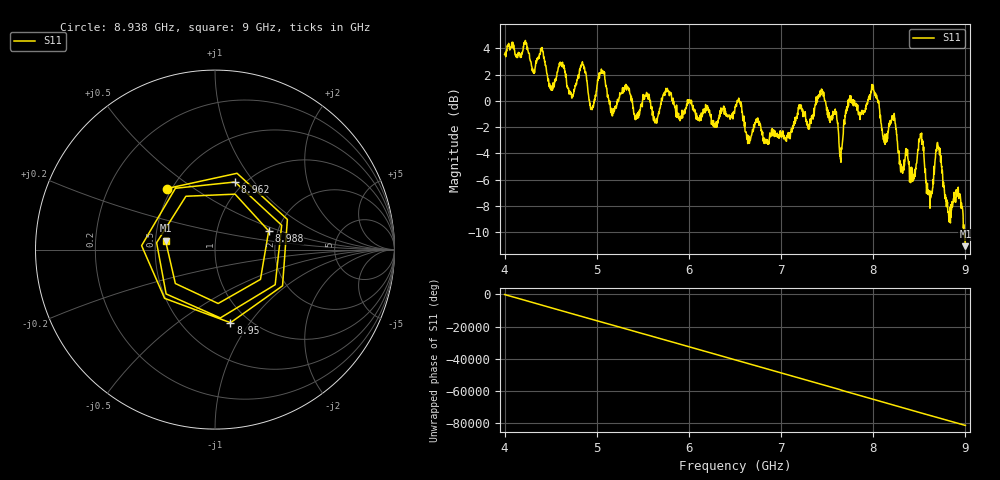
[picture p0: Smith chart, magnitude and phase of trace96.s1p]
! Created with skrf 1.8.0 (http://scikit-rf.org).
# Hz S RI R 50.0
!freq ReS11 ImS11
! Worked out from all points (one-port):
!   1601 points, 4 GHz to 9 GHz, reference 50 ohm
!   lowest |S11| = -11.1 dB at 9 GHz (marker M1), VSWR 1.78, Z = 28.3 + j3.02 ohm
!   |S11| at or under -10 dB: 8.988099 GHz to end of sweep
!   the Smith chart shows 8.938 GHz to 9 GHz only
!   S11 on the Smith chart (normalised r, x): 8.938 GHz: 0.47, +0.39; 8.95 GHz: 0.83, -0.81; 8.962 GHz: 0.91, +0.81; 8.988 GHz: 1.79, +0.41; 9 GHz: 0.57, +0.06
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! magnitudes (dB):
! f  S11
! 4 GHz  3.5
! 4.625 GHz  2.8
! 4.722 GHz  0.5
! 4.856 GHz  2.8
! 4.941 GHz  -0.6
! 5.059 GHz  2.1
! 5.169 GHz  -1.1
! 5.25 GHz  0.6
! 5.875 GHz  -0.9
! 6.5 GHz  -0.5
! 7.125 GHz  -1.9
! 7.438 GHz  0.9
! 7.65 GHz  -4.7
! 7.75 GHz  0.0
! 8.003 GHz  0.9
! 8.116 GHz  -2.7
! 8.216 GHz  -1.4
! 8.306 GHz  -5.2
! 8.375 GHz  -4.4
! 8.519 GHz  -2.7
! 8.616 GHz  -8.2
! 8.703 GHz  -3.4
! 8.812 GHz  -8.5
! 8.938 GHz  -7.3
! 8.95 GHz  -7.6
! 8.962 GHz  -8.1
! 8.988 GHz  -10.0
! 9 GHz  -11.1
